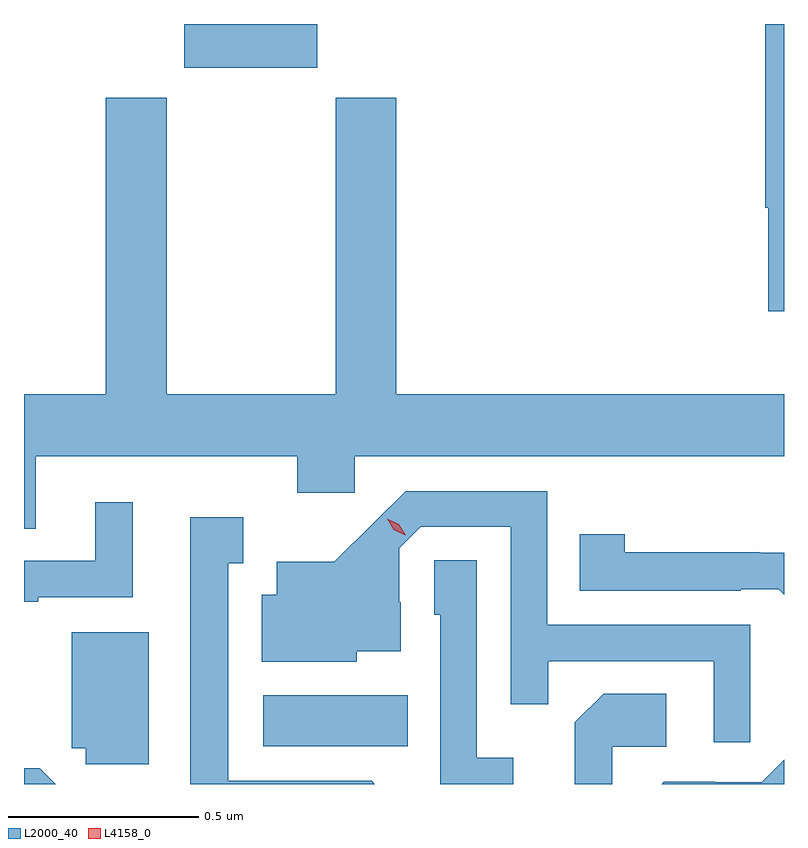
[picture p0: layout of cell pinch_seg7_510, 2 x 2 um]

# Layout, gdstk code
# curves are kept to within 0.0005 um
import gdstk
lib = gdstk.Library(unit=1e-6, precision=1e-09)
def R(c, l, rs):  # rectangles x0, y0, x1, y1
    for r in rs: c.add(gdstk.rectangle(r[:2], r[2:], *l))
def P(c, l, *ps):  # polygons
    for p in ps: c.add(gdstk.Polygon(p, *l))
L2000_40 = (2000, 40)
L4158_0 = (4158, 0)

pinch_seg7_510 = lib.new_cell('pinch_seg7_510')
R(pinch_seg7_510, L2000_40, [(204.42,1065.122,204.8,1065.256), (204.212,1066.907,204.562,1067.022)])
P(pinch_seg7_510, L2000_40, [(205.79,1067.022),(205.741,1067.022),(205.741,1066.538),(205.748,1066.538),(205.748,1066.266),(205.79,1066.266)],
  [(203.821,1065.884),(204.509,1065.884),(204.509,1065.789),(204.66,1065.789),(204.66,1065.884),(205.79,1065.884),(205.79,1066.048),(204.77,1066.048),(204.77,1066.828),(204.61,1066.828),(204.61,1066.048),(204.165,1066.048),(204.165,1066.828),(204.005,1066.828),(204.005,1066.048),(203.79,1066.048),(203.79,1065.694),(203.821,1065.694)],
  [(205.701,1065.441),(205.167,1065.441),(205.167,1065.792),(204.794,1065.792),(204.607,1065.607),(204.455,1065.607),(204.455,1065.52),(204.416,1065.52),(204.416,1065.344),(204.666,1065.344),(204.666,1065.371),(204.781,1065.371),(204.781,1065.5),(204.777,1065.5),(204.777,1065.642),(204.834,1065.699),(205.071,1065.699),(205.071,1065.232),(205.169,1065.232),(205.169,1065.345),(205.605,1065.345),(205.605,1065.132),(205.701,1065.132)],
  [(203.827,1065.513),(204.076,1065.513),(204.076,1065.763),(203.978,1065.763),(203.978,1065.609),(203.79,1065.609),(203.79,1065.501),(203.827,1065.501)],
  [(204.705,1065.03),(204.328,1065.03),(204.328,1065.603),(204.367,1065.603),(204.367,1065.724),(204.227,1065.724),(204.227,1065.022),(204.713,1065.022)],
  [(205.79,1065.631),(205.727,1065.631),(205.727,1065.632),(205.371,1065.632),(205.371,1065.679),(205.252,1065.679),(205.252,1065.531),(205.676,1065.531),(205.676,1065.534),(205.776,1065.534),(205.79,1065.52)],
  [(205.078,1065.091),(204.981,1065.091),(204.981,1065.611),(204.87,1065.611),(204.87,1065.468),(204.885,1065.468),(204.885,1065.022),(205.078,1065.022)],
  [(204.118,1065.421),(203.915,1065.421),(203.915,1065.116),(203.952,1065.116),(203.952,1065.074),(204.118,1065.074)],
  [(205.338,1065.12),(205.48,1065.12),(205.48,1065.26),(205.315,1065.26),(205.239,1065.184),(205.239,1065.022),(205.338,1065.022)],
  [(205.79,1065.086),(205.731,1065.027),(205.608,1065.027),(205.608,1065.028),(205.474,1065.028),(205.468,1065.022),(205.79,1065.022)],
  [(203.831,1065.064),(203.79,1065.064),(203.79,1065.022),(203.873,1065.022)])
P(pinch_seg7_510, L4158_0, [(204.793,1065.676),(204.763,1065.691),(204.746,1065.72),(204.746,1065.72),(204.746,1065.72),(204.776,1065.705),(204.794,1065.676),(204.794,1065.676)])

lib.write_gds('pinch_seg7_510.gds')
